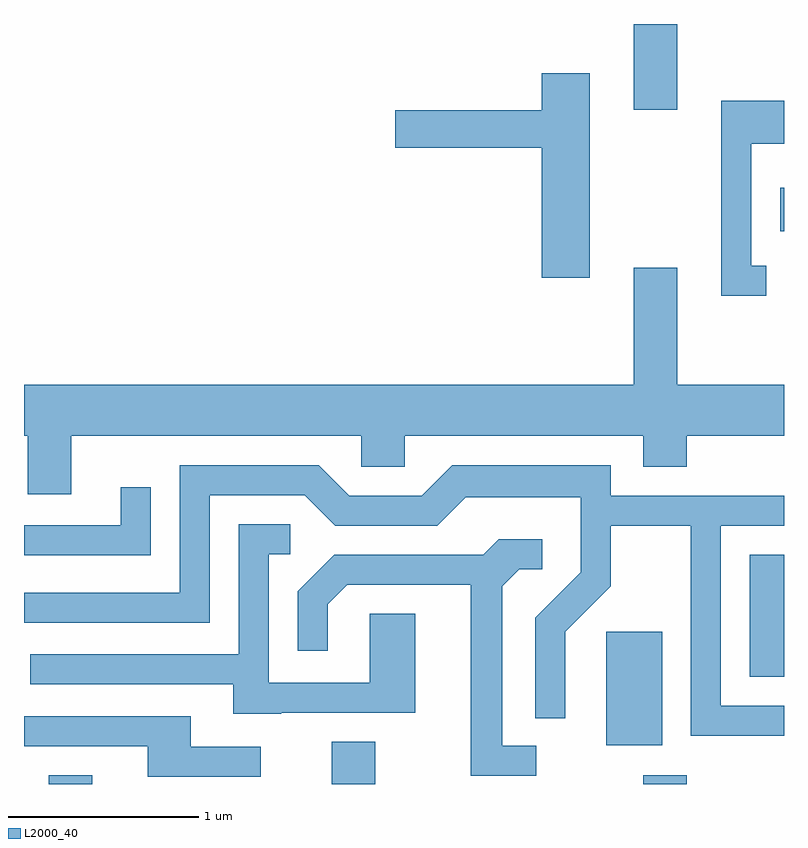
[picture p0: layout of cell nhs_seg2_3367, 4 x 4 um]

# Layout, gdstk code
import gdstk
lib = gdstk.Library(unit=1e-6, precision=1e-09)
def R(c, l, rs):  # rectangles x0, y0, x1, y1
    for r in rs: c.add(gdstk.rectangle(r[:2], r[2:], *l))
def P(c, l, *ps):  # polygons
    for p in ps: c.add(gdstk.Polygon(p, *l))
L2000_40 = (2000, 40)

nhs_seg2_3367 = lib.new_cell('nhs_seg2_3367')
R(nhs_seg2_3367, L2000_40, [(283.741,1059.802,283.969,1059.849), (285.231,1059.802,285.459,1060.024), (286.871,1059.802,287.099,1059.849), (286.676,1060.006,286.969,1060.604), (287.431,1060.366,287.611,1061.009), (287.591,1062.711,287.611,1062.939), (286.821,1063.351,287.049,1063.802)])
P(nhs_seg2_3367, L2000_40, [(286.589,1063.544),(286.336,1063.544),(286.336,1063.349),(285.566,1063.349),(285.566,1063.151),(286.336,1063.151),(286.336,1062.466),(286.589,1062.466)],
  [(287.518,1062.529),(287.439,1062.529),(287.439,1063.171),(287.611,1063.171),(287.611,1063.399),(287.281,1063.399),(287.281,1062.371),(287.518,1062.371)],
  [(283.859,1061.636),(285.386,1061.636),(285.386,1061.471),(285.614,1061.471),(285.614,1061.636),(286.871,1061.636),(286.871,1061.471),(287.099,1061.471),(287.099,1061.636),(287.611,1061.636),(287.611,1061.904),(287.049,1061.904),(287.049,1062.519),(286.821,1062.519),(286.821,1061.904),(283.611,1061.904),(283.611,1061.636),(283.631,1061.636),(283.631,1061.326),(283.859,1061.326)],
  [(287.611,1060.214),(287.279,1060.214),(287.279,1061.161),(287.611,1061.161),(287.611,1061.319),(286.699,1061.319),(286.699,1061.479),(285.864,1061.479),(285.704,1061.319),(285.322,1061.319),(285.162,1061.479),(284.431,1061.479),(284.431,1060.809),(283.611,1060.809),(283.611,1060.651),(284.589,1060.651),(284.589,1061.321),(285.089,1061.321),(285.249,1061.161),(285.787,1061.161),(285.937,1061.311),(286.541,1061.311),(286.541,1060.917),(286.301,1060.677),(286.301,1060.148),(286.459,1060.148),(286.459,1060.604),(286.699,1060.844),(286.699,1061.161),(287.121,1061.161),(287.121,1060.056),(287.611,1060.056)],
  [(284.279,1061.363),(284.121,1061.363),(284.121,1061.164),(283.611,1061.164),(283.611,1061.006),(284.279,1061.006)],
  [(284.965,1060.176),(285.669,1060.176),(285.669,1060.699),(285.431,1060.699),(285.431,1060.334),(284.899,1060.334),(284.899,1061.011),(285.013,1061.011),(285.013,1061.169),(284.741,1061.169),(284.741,1060.484),(283.643,1060.484),(283.643,1060.326),(284.711,1060.326),(284.711,1060.171),(284.965,1060.171)],
  [(286.308,1060.004),(286.129,1060.004),(286.129,1060.844),(286.217,1060.931),(286.338,1060.931),(286.338,1061.089),(286.109,1061.089),(286.029,1061.009),(285.244,1061.009),(285.051,1060.817),(285.051,1060.503),(285.209,1060.503),(285.209,1060.749),(285.312,1060.851),(285.961,1060.851),(285.961,1059.846),(286.308,1059.846)],
  [(284.858,1059.999),(284.489,1059.999),(284.489,1060.159),(283.611,1060.159),(283.611,1060.001),(284.261,1060.001),(284.261,1059.841),(284.858,1059.841)])

lib.write_gds('nhs_seg2_3367.gds')
